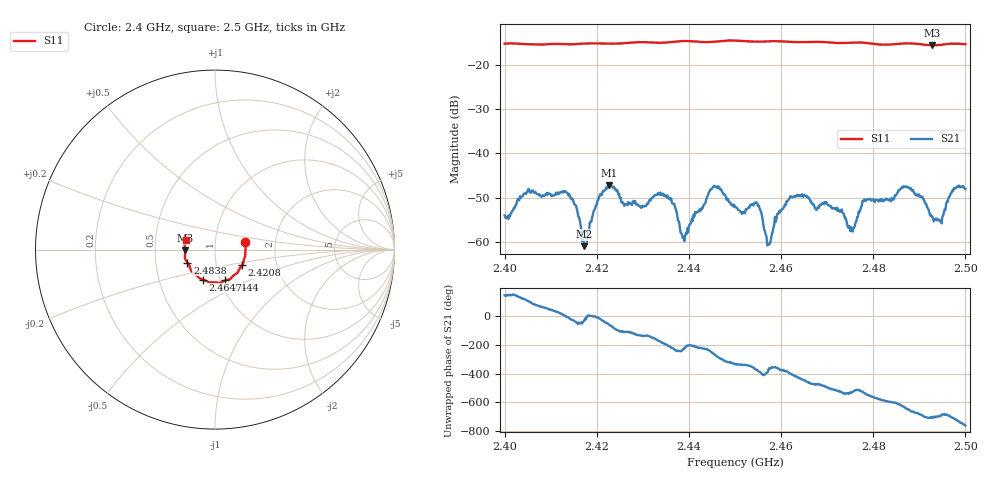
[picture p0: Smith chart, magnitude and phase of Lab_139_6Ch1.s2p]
# Hz S RI R 50
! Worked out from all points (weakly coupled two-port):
!   601 points, 2.4 GHz to 2.5 GHz, reference 50 ohm
!   highest |S21| = -47.19 dB at 2.4227 GHz (marker M1); lowest = -60.9 dB at 2.4173 GHz (marker M2)
!   lowest |S11| = -15.6 dB at 2.4928 GHz (marker M3), VSWR 1.40, Z = 35.8 - j0.35 ohm
!   |S11| at or under -10 dB: start of sweep to end of sweep
!   S12 and S22 are empty: the file has one direction only
!   S11 on the Smith chart (normalised r, x): 2.4 GHz: 1.40, +0.12; 2.4208 GHz: 1.33, -0.24; 2.444 GHz: 1.06, -0.37; 2.4647 GHz: 0.83, -0.29; 2.4838 GHz: 0.73, -0.11; 2.5 GHz: 0.72, +0.08
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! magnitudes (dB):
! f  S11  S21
! 2.4 GHz  -15.3  -54.0
! 2.4132 GHz  -15.3  -48.5
! 2.4167 GHz  -15.2  -57.3
! 2.4173 GHz  -15.2  -60.9
! 2.4208 GHz  -15.2  -49.1
! 2.4227 GHz  -15.2  -47.2
! 2.4333 GHz  -15.0  -48.9
! 2.439 GHz  -14.6  -59.8
! 2.444 GHz  -14.9  -49.7
! 2.45 GHz  -14.5  -52.1
! 2.4548 GHz  -14.8  -51.3
! 2.4573 GHz  -14.7  -60.4
! 2.4617 GHz  -14.8  -50.4
! 2.4647 GHz  -14.9  -49.6
! 2.4667 GHz  -14.8  -51.2
! 2.4753 GHz  -15.0  -56.9
! 2.4782 GHz  -15.0  -50.4
! 2.4833 GHz  -15.5  -50.6
! 2.4838 GHz  -15.4  -50.8
! 2.4877 GHz  -15.2  -47.7
! 2.4928 GHz  -15.6  -54.2
! 2.5 GHz  -15.4  -48.0
